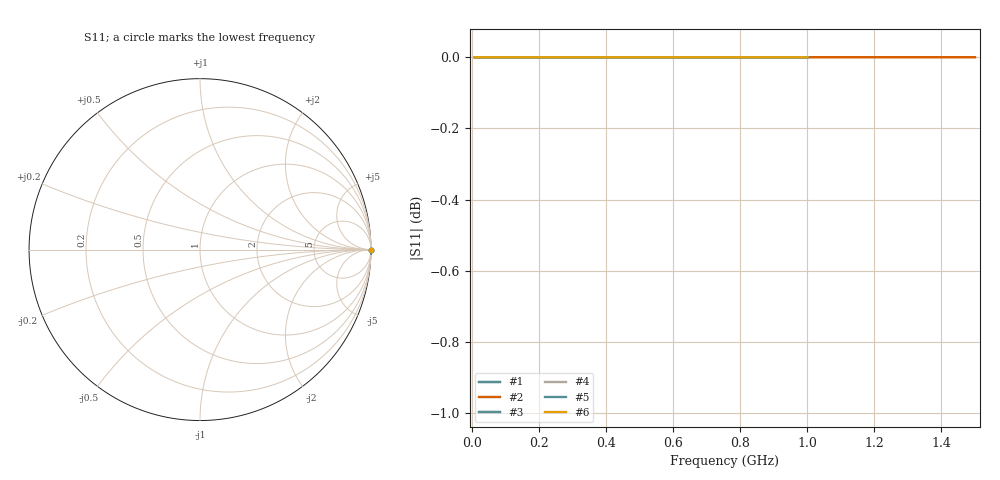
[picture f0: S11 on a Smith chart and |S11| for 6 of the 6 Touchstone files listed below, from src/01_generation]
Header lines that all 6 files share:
! Exported from HFSS 13.0.2
! Terminal data exported
! Port[1] = PD1_Void_Port_T1
! Port[2] = Radiating_Plate_T1
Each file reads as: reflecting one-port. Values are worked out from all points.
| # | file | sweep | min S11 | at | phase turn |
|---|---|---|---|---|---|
| 1 | FYP_Sim_Actual_Separated_Ports_PD1_S1.s2p | 10 MHz to 1 GHz | 0.0 dB | 410 MHz | -1 deg |
| 2 | FYP_Sim_Actual_Separated_Ports_PD1_S1_Z_Matrix.s2p | 10 MHz to 1.5 GHz | 0.0 dB | 40 MHz | -0 deg |
| 3 | FYP_Sim_Actual_Separated_Ports_PD1_S2.s2p | 10 MHz to 1 GHz | 0.0 dB | 1 GHz | -2 deg |
| 4 | FYP_Sim_Actual_Separated_Ports_PD1_S2_Z_Matrix.s2p | 10 MHz to 1 GHz | 0.0 dB | 1 GHz | -0 deg |
| 5 | FYP_Sim_Actual_Separated_Ports_PD1_S3_Z_Matrix.s2p | 10 MHz to 1 GHz | 0.0 dB | 430 MHz | -0 deg |
| 6 | FYP_Sim_Actual_Separated_Ports_PD1_S4_Z_Matrix.s2p | 10 MHz to 1 GHz | 0.0 dB | 240 MHz | -0 deg |
